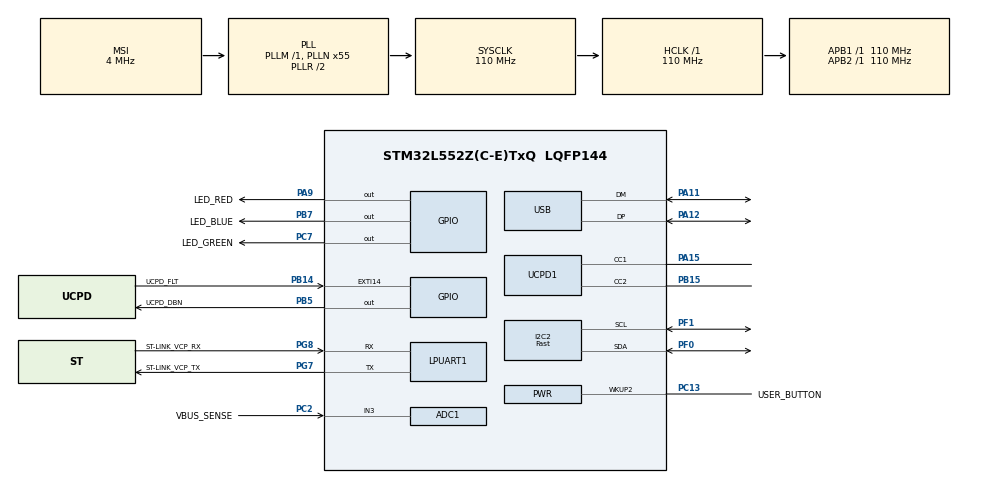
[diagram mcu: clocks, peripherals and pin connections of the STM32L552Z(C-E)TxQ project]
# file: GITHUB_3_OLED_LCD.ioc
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ADC1.Channel-0\#ChannelRegularConversion=ADC_CHANNEL_3
ADC1.NbrOfConversionFlag=1
ADC1.OffsetNumber-0\#ChannelRegularConversion=ADC_OFFSET_NONE
ADC1.Rank-0\#ChannelRegularConversion=1
ADC1.SamplingTime-0\#ChannelRegularConversion=ADC_SAMPLETIME_2CYCLES_5
ADC1.master=1
I2C2.I2C_Speed_Mode=I2C_Fast
I2C2.Timing=0x00A03AC8
Mcu.Family=STM32L5
Mcu.Name=STM32L552Z(C-E)TxQ
Mcu.Package=LQFP144
Mcu.TrustZone=disable
NVIC.PriorityGroup=NVIC_PRIORITYGROUP_3
PA11.Mode=Device
PA11.Signal=USB_DM
PA12.Mode=Device
PA12.Signal=USB_DP
PA13\ (JTMS/SWDIO).Mode=Trace_Asynchronous_SW
PA13\ (JTMS/SWDIO).Signal=DEBUG_JTMS-SWDIO
PA14\ (JTCK/SWCLK).Mode=Trace_Asynchronous_SW
PA14\ (JTCK/SWCLK).Signal=DEBUG_JTCK-SWCLK
PA15\ (JTDI).Mode=Source_AllSignals
PA15\ (JTDI).Signal=UCPD1_CC1
PA9.GPIO_Label=LED_RED
PA9.Signal=GPIO_Output
PB14.GPIO_Label=UCPD_FLT
PB14.Signal=GPXTI14
PB15.Mode=Source_AllSignals
PB15.Signal=UCPD1_CC2
PB3\ (JTDO/TRACESWO).Mode=Trace_Asynchronous_SW
PB3\ (JTDO/TRACESWO).Signal=DEBUG_JTDO-SWO
PB5.GPIO_Label=UCPD_DBN
PB5.Signal=GPIO_Output
PB7.GPIO_Label=LED_BLUE
PB7.Signal=GPIO_Output
PC13.GPIO_Label=USER_BUTTON
PC13.Mode=WakeUp1
PC13.Signal=PWR_WKUP2
PC14-OSC32_IN\ (PC14).Mode=LSE-External-Oscillator
PC14-OSC32_IN\ (PC14).Signal=RCC_OSC32_IN
PC15-OSC32_OUT\ (PC15).Mode=LSE-External-Oscillator
PC15-OSC32_OUT\ (PC15).Signal=RCC_OSC32_OUT
PC2.GPIO_Label=VBUS_SENSE
PC2.Signal=ADCx_IN3
PC7.GPIO_Label=LED_GREEN
PC7.Signal=GPIO_Output
PF0.Mode=I2C
PF0.Signal=I2C2_SDA
PF1.Mode=I2C
PF1.Signal=I2C2_SCL
PG7.GPIO_Label=ST-LINK_VCP_TX
PG7.Mode=Asynchronous
PG7.Signal=LPUART1_TX
PG8.GPIO_Label=ST-LINK_VCP_RX
PG8.Mode=Asynchronous
PG8.Signal=LPUART1_RX
ProjectManager.HeapSize=0x200
ProjectManager.StackSize=0x400
ProjectManager.TargetToolchain=STM32CubeIDE
RCC.ADCCLockSelection=RCC_ADCCLKSOURCE_SYSCLK
RCC.ADCFreq_Value=110000000
RCC.AHBFreq_Value=110000000
RCC.APB1Freq_Value=110000000
RCC.APB1TimFreq_Value=110000000
RCC.APB2Freq_Value=110000000
RCC.APB2TimFreq_Value=110000000
RCC.CK48CLockSelection=RCC_USBCLKSOURCE_HSI48
RCC.CortexFreq_Value=110000000
RCC.HCLKFreq_Value=110000000
RCC.HSE_VALUE=8000000
RCC.HSI48_VALUE=48000000
RCC.HSI_VALUE=16000000
RCC.MSI_VALUE=4000000
RCC.PLLN=55
RCC.PLLSAI1N=24
RCC.RTCClockSelection=RCC_RTCCLKSOURCE_LSE
RCC.SYSCLKFreq_VALUE=110000000
RCC.SYSCLKSource=RCC_SYSCLKSOURCE_PLLCLK
RCC.USBFreq_Value=48000000
RCC.VCOOutputFreq_Value=220000000
SH.ADCx_IN3.0=ADC1_IN3,IN3-Single-Ended
VP_PWR_VS_DBSignals.Mode=DisableDeadBatterySignals
VP_RTC_VS_RTC_Activate.Mode=RTC_Enabled
board=NUCLEO-L552ZE-Q

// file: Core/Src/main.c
/* USER CODE BEGIN Header */
/**
  ******************************************************************************
  * @file           : main.c
  * @brief          : Main program body
  ******************************************************************************
  * @attention
  *
  * Copyright (c) 2022 STMicroelectronics.
  * All rights reserved.
  *
  * This software is licensed under terms that can be found in the LICENSE file
  * in the root directory of this software component.
  * If no LICENSE file comes with this software, it is provided AS-IS.
  *
  ******************************************************************************
  */
/* USER CODE END Header */
#include "main.h"

/* USER CODE BEGIN Includes */

#include "bitmaps.h"
#include "cocacola.h"
#include "fonts.h"
#include "ssd1306.h"

/* USER CODE END Includes */

ADC_HandleTypeDef hadc1;

I2C_HandleTypeDef hi2c2;

UART_HandleTypeDef hlpuart1;

RTC_HandleTypeDef hrtc;

PCD_HandleTypeDef hpcd_USB_FS;

void SystemClock_Config(void);
static void MX_GPIO_Init(void);
static void MX_ADC1_Init(void);
static void MX_LPUART1_UART_Init(void);
static void MX_RTC_Init(void);
static void MX_UCPD1_Init(void);
static void MX_USB_PCD_Init(void);
static void MX_I2C2_Init(void);

int main(void)
{

  /* MCU Configuration--------------------------------------------------------*/

  /* Reset of all peripherals, Initializes the Flash interface and the Systick. */
  HAL_Init();

  /* Configure the system clock */
  SystemClock_Config();

  /* Initialize all configured peripherals */
  MX_GPIO_Init();
  MX_ADC1_Init();
  MX_LPUART1_UART_Init();
  MX_RTC_Init();
  MX_UCPD1_Init();
  MX_USB_PCD_Init();
  MX_I2C2_Init();
  /* USER CODE BEGIN 2 */

  SSD1306_Init();

  /* USER CODE END 2 */

  /* Infinite loop */
  /* USER CODE BEGIN WHILE */
  while (1)
  {

	  // Print something
  	  SSD1306_Fill(0);
  	  uint32_t number = 17;
	  SSD1306_Println("MyBestNumber:%i",number);
   	  HAL_Delay(3000);
   	  SSD1306_UpdateScreen();
   	  SSD1306_Clear();

   	  // Print something
   	  SSD1306_GotoXY (10, 30);
	  SSD1306_Puts ("Hello", &Font_11x18, 1);
	  HAL_Delay(3000);
	  SSD1306_UpdateScreen();
   	  SSD1306_Clear();

    /* USER CODE END WHILE */

  }
}

void SystemClock_Config(void)
{
  RCC_OscInitTypeDef RCC_OscInitStruct = {0};
  RCC_ClkInitTypeDef RCC_ClkInitStruct = {0};

  /** Configure the main internal regulator output voltage
  */
  if (HAL_PWREx_ControlVoltageScaling(PWR_REGULATOR_VOLTAGE_SCALE0) != HAL_OK)
  {
    Error_Handler();
  }

  /** Configure LSE Drive Capability
  */
  HAL_PWR_EnableBkUpAccess();
  __HAL_RCC_LSEDRIVE_CONFIG(RCC_LSEDRIVE_LOW);

  /** Initializes the RCC Oscillators according to the specified parameters
  * in the RCC_OscInitTypeDef structure.
  */
  RCC_OscInitStruct.OscillatorType = RCC_OSCILLATORTYPE_HSI48|RCC_OSCILLATORTYPE_LSE
                              |RCC_OSCILLATORTYPE_MSI;
  RCC_OscInitStruct.LSEState = RCC_LSE_ON;
  RCC_OscInitStruct.HSI48State = RCC_HSI48_ON;
  RCC_OscInitStruct.MSIState = RCC_MSI_ON;
  RCC_OscInitStruct.MSICalibrationValue = RCC_MSICALIBRATION_DEFAULT;
  RCC_OscInitStruct.MSIClockRange = RCC_MSIRANGE_6;
  RCC_OscInitStruct.PLL.PLLState = RCC_PLL_ON;
  RCC_OscInitStruct.PLL.PLLSource = RCC_PLLSOURCE_MSI;
  RCC_OscInitStruct.PLL.PLLM = 1;
  RCC_OscInitStruct.PLL.PLLN = 55;
  RCC_OscInitStruct.PLL.PLLP = RCC_PLLP_DIV7;
  RCC_OscInitStruct.PLL.PLLQ = RCC_PLLQ_DIV2;
  RCC_OscInitStruct.PLL.PLLR = RCC_PLLR_DIV2;
  if (HAL_RCC_OscConfig(&RCC_OscInitStruct) != HAL_OK)
  {
    Error_Handler();
  }

  /** Initializes the CPU, AHB and APB buses clocks
  */
  RCC_ClkInitStruct.ClockType = RCC_CLOCKTYPE_HCLK|RCC_CLOCKTYPE_SYSCLK
                              |RCC_CLOCKTYPE_PCLK1|RCC_CLOCKTYPE_PCLK2;
  RCC_ClkInitStruct.SYSCLKSource = RCC_SYSCLKSOURCE_PLLCLK;
  RCC_ClkInitStruct.AHBCLKDivider = RCC_SYSCLK_DIV1;
  RCC_ClkInitStruct.APB1CLKDivider = RCC_HCLK_DIV1;
  RCC_ClkInitStruct.APB2CLKDivider = RCC_HCLK_DIV1;

  if (HAL_RCC_ClockConfig(&RCC_ClkInitStruct, FLASH_LATENCY_5) != HAL_OK)
  {
    Error_Handler();
  }
}

static void MX_ADC1_Init(void)
{

  ADC_MultiModeTypeDef multimode = {0};
  ADC_ChannelConfTypeDef sConfig = {0};

  /** Common config
  */
  hadc1.Instance = ADC1;
  hadc1.Init.ClockPrescaler = ADC_CLOCK_ASYNC_DIV1;
  hadc1.Init.Resolution = ADC_RESOLUTION_12B;
  hadc1.Init.DataAlign = ADC_DATAALIGN_RIGHT;
  hadc1.Init.ScanConvMode = ADC_SCAN_DISABLE;
  hadc1.Init.EOCSelection = ADC_EOC_SINGLE_CONV;
  hadc1.Init.LowPowerAutoWait = DISABLE;
  hadc1.Init.ContinuousConvMode = DISABLE;
  hadc1.Init.NbrOfConversion = 1;
  hadc1.Init.DiscontinuousConvMode = DISABLE;
  hadc1.Init.ExternalTrigConv = ADC_SOFTWARE_START;
  hadc1.Init.ExternalTrigConvEdge = ADC_EXTERNALTRIGCONVEDGE_NONE;
  hadc1.Init.DMAContinuousRequests = DISABLE;
  hadc1.Init.Overrun = ADC_OVR_DATA_PRESERVED;
  hadc1.Init.OversamplingMode = DISABLE;
  if (HAL_ADC_Init(&hadc1) != HAL_OK)
  {
    Error_Handler();
  }

  /** Configure the ADC multi-mode
  */
  multimode.Mode = ADC_MODE_INDEPENDENT;
  if (HAL_ADCEx_MultiModeConfigChannel(&hadc1, &multimode) != HAL_OK)
  {
    Error_Handler();
  }

  /** Configure Regular Channel
  */
  sConfig.Channel = ADC_CHANNEL_3;
  sConfig.Rank = ADC_REGULAR_RANK_1;
  sConfig.SamplingTime = ADC_SAMPLETIME_2CYCLES_5;
  sConfig.SingleDiff = ADC_SINGLE_ENDED;
  sConfig.OffsetNumber = ADC_OFFSET_NONE;
  sConfig.Offset = 0;
  if (HAL_ADC_ConfigChannel(&hadc1, &sConfig) != HAL_OK)
  {
    Error_Handler();
  }

}

static void MX_I2C2_Init(void)
{

  hi2c2.Instance = I2C2;
  hi2c2.Init.Timing = 0x00A03AC8;
  hi2c2.Init.OwnAddress1 = 0;
  hi2c2.Init.AddressingMode = I2C_ADDRESSINGMODE_7BIT;
  hi2c2.Init.DualAddressMode = I2C_DUALADDRESS_DISABLE;
  hi2c2.Init.OwnAddress2 = 0;
  hi2c2.Init.OwnAddress2Masks = I2C_OA2_NOMASK;
  hi2c2.Init.GeneralCallMode = I2C_GENERALCALL_DISABLE;
  hi2c2.Init.NoStretchMode = I2C_NOSTRETCH_DISABLE;
  if (HAL_I2C_Init(&hi2c2) != HAL_OK)
  {
    Error_Handler();
  }

  /** Configure Analogue filter
  */
  if (HAL_I2CEx_ConfigAnalogFilter(&hi2c2, I2C_ANALOGFILTER_ENABLE) != HAL_OK)
  {
    Error_Handler();
  }

  /** Configure Digital filter
  */
  if (HAL_I2CEx_ConfigDigitalFilter(&hi2c2, 0) != HAL_OK)
  {
    Error_Handler();
  }

}

static void MX_LPUART1_UART_Init(void)
{

  hlpuart1.Instance = LPUART1;
  hlpuart1.Init.BaudRate = 209700;
  hlpuart1.Init.WordLength = UART_WORDLENGTH_8B;
  hlpuart1.Init.StopBits = UART_STOPBITS_1;
  hlpuart1.Init.Parity = UART_PARITY_NONE;
  hlpuart1.Init.Mode = UART_MODE_TX_RX;
  hlpuart1.Init.HwFlowCtl = UART_HWCONTROL_NONE;
  hlpuart1.Init.OneBitSampling = UART_ONE_BIT_SAMPLE_DISABLE;
  hlpuart1.Init.ClockPrescaler = UART_PRESCALER_DIV1;
  hlpuart1.AdvancedInit.AdvFeatureInit = UART_ADVFEATURE_NO_INIT;
  hlpuart1.FifoMode = UART_FIFOMODE_DISABLE;
  if (HAL_UART_Init(&hlpuart1) != HAL_OK)
  {
    Error_Handler();
  }
  if (HAL_UARTEx_SetTxFifoThreshold(&hlpuart1, UART_TXFIFO_THRESHOLD_1_8) != HAL_OK)
  {
    Error_Handler();
  }
  if (HAL_UARTEx_SetRxFifoThreshold(&hlpuart1, UART_RXFIFO_THRESHOLD_1_8) != HAL_OK)
  {
    Error_Handler();
  }
  if (HAL_UARTEx_DisableFifoMode(&hlpuart1) != HAL_OK)
  {
    Error_Handler();
  }

}

static void MX_RTC_Init(void)
{

  RTC_PrivilegeStateTypeDef privilegeState = {0};

  /** Initialize RTC Only
  */
  hrtc.Instance = RTC;
  hrtc.Init.HourFormat = RTC_HOURFORMAT_24;
  hrtc.Init.AsynchPrediv = 127;
  hrtc.Init.SynchPrediv = 255;
  hrtc.Init.OutPut = RTC_OUTPUT_DISABLE;
  hrtc.Init.OutPutRemap = RTC_OUTPUT_REMAP_NONE;
  hrtc.Init.OutPutPolarity = RTC_OUTPUT_POLARITY_HIGH;
  hrtc.Init.OutPutType = RTC_OUTPUT_TYPE_OPENDRAIN;
  hrtc.Init.OutPutPullUp = RTC_OUTPUT_PULLUP_NONE;
  if (HAL_RTC_Init(&hrtc) != HAL_OK)
  {
    Error_Handler();
  }
  privilegeState.rtcPrivilegeFull = RTC_PRIVILEGE_FULL_NO;
  privilegeState.backupRegisterPrivZone = RTC_PRIVILEGE_BKUP_ZONE_NONE;
  privilegeState.backupRegisterStartZone2 = RTC_BKP_DR0;
  privilegeState.backupRegisterStartZone3 = RTC_BKP_DR0;
  if (HAL_RTCEx_PrivilegeModeSet(&hrtc, &privilegeState) != HAL_OK)
  {
    Error_Handler();
  }

}

static void MX_UCPD1_Init(void)
{

  LL_GPIO_InitTypeDef GPIO_InitStruct = {0};

  /* Peripheral clock enable */
  LL_APB1_GRP2_EnableClock(LL_APB1_GRP2_PERIPH_UCPD1);

  LL_AHB2_GRP1_EnableClock(LL_AHB2_GRP1_PERIPH_GPIOB);
  LL_AHB2_GRP1_EnableClock(LL_AHB2_GRP1_PERIPH_GPIOA);
  /**UCPD1 GPIO Configuration
  PB15   ------> UCPD1_CC2
  PA15 (JTDI)   ------> UCPD1_CC1
  */
  GPIO_InitStruct.Pin = LL_GPIO_PIN_15;
  GPIO_InitStruct.Mode = LL_GPIO_MODE_ANALOG;
  GPIO_InitStruct.Pull = LL_GPIO_PULL_NO;
  LL_GPIO_Init(GPIOB, &GPIO_InitStruct);

  GPIO_InitStruct.Pin = LL_GPIO_PIN_15;
  GPIO_InitStruct.Mode = LL_GPIO_MODE_ANALOG;
  GPIO_InitStruct.Pull = LL_GPIO_PULL_NO;
  LL_GPIO_Init(GPIOA, &GPIO_InitStruct);

}

static void MX_USB_PCD_Init(void)
{

  hpcd_USB_FS.Instance = USB;
  hpcd_USB_FS.Init.dev_endpoints = 8;
  hpcd_USB_FS.Init.speed = PCD_SPEED_FULL;
  hpcd_USB_FS.Init.phy_itface = PCD_PHY_EMBEDDED;
  hpcd_USB_FS.Init.Sof_enable = DISABLE;
  hpcd_USB_FS.Init.low_power_enable = DISABLE;
  hpcd_USB_FS.Init.lpm_enable = DISABLE;
  hpcd_USB_FS.Init.battery_charging_enable = DISABLE;
  if (HAL_PCD_Init(&hpcd_USB_FS) != HAL_OK)
  {
    Error_Handler();
  }

}

static void MX_GPIO_Init(void)
{
  GPIO_InitTypeDef GPIO_InitStruct = {0};

  /* GPIO Ports Clock Enable */
  __HAL_RCC_GPIOC_CLK_ENABLE();
  __HAL_RCC_GPIOF_CLK_ENABLE();
  __HAL_RCC_GPIOB_CLK_ENABLE();
  __HAL_RCC_GPIOG_CLK_ENABLE();
  HAL_PWREx_EnableVddIO2();
  __HAL_RCC_GPIOA_CLK_ENABLE();

  /*Configure GPIO pin Output Level */
  HAL_GPIO_WritePin(LED_GREEN_GPIO_Port, LED_GREEN_Pin, GPIO_PIN_RESET);

  /*Configure GPIO pin Output Level */
  HAL_GPIO_WritePin(LED_RED_GPIO_Port, LED_RED_Pin, GPIO_PIN_RESET);

  /*Configure GPIO pin Output Level */
  HAL_GPIO_WritePin(GPIOB, UCPD_DBN_Pin|LED_BLUE_Pin, GPIO_PIN_RESET);

  /*Configure GPIO pin : UCPD_FLT_Pin */
  GPIO_InitStruct.Pin = UCPD_FLT_Pin;
  GPIO_InitStruct.Mode = GPIO_MODE_IT_RISING;
  GPIO_InitStruct.Pull = GPIO_NOPULL;
  HAL_GPIO_Init(UCPD_FLT_GPIO_Port, &GPIO_InitStruct);

  /*Configure GPIO pin : LED_GREEN_Pin */
  GPIO_InitStruct.Pin = LED_GREEN_Pin;
  GPIO_InitStruct.Mode = GPIO_MODE_OUTPUT_PP;
  GPIO_InitStruct.Pull = GPIO_NOPULL;
  GPIO_InitStruct.Speed = GPIO_SPEED_FREQ_LOW;
  HAL_GPIO_Init(LED_GREEN_GPIO_Port, &GPIO_InitStruct);

  /*Configure GPIO pin : LED_RED_Pin */
  GPIO_InitStruct.Pin = LED_RED_Pin;
  GPIO_InitStruct.Mode = GPIO_MODE_OUTPUT_PP;
  GPIO_InitStruct.Pull = GPIO_NOPULL;
  GPIO_InitStruct.Speed = GPIO_SPEED_FREQ_LOW;
  HAL_GPIO_Init(LED_RED_GPIO_Port, &GPIO_InitStruct);

  /*Configure GPIO pins : UCPD_DBN_Pin LED_BLUE_Pin */
  GPIO_InitStruct.Pin = UCPD_DBN_Pin|LED_BLUE_Pin;
  GPIO_InitStruct.Mode = GPIO_MODE_OUTPUT_PP;
  GPIO_InitStruct.Pull = GPIO_NOPULL;
  GPIO_InitStruct.Speed = GPIO_SPEED_FREQ_LOW;
  HAL_GPIO_Init(GPIOB, &GPIO_InitStruct);

}

void Error_Handler(void)
{
  __disable_irq();
  while (1)
  {
  }
}
